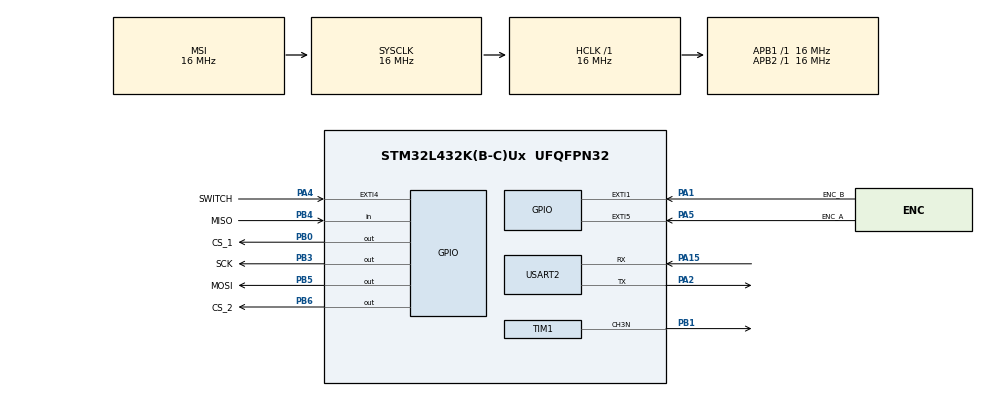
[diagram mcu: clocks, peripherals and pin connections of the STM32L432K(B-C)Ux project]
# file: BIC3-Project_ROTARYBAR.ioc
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Mcu.Family=STM32L4
Mcu.Name=STM32L432K(B-C)Ux
Mcu.Package=UFQFPN32
NVIC.EXTI1_IRQn=true\:15\:0\:true\:false\:true\:true\:true
NVIC.EXTI4_IRQn=true\:15\:0\:true\:false\:true\:true\:true
NVIC.EXTI9_5_IRQn=true\:15\:0\:true\:false\:true\:true\:true
NVIC.PriorityGroup=NVIC_PRIORITYGROUP_4
NVIC.USART2_IRQn=true\:0\:0\:false\:false\:true\:true\:true
PA1.GPIO_Label=ENC_B
PA1.GPIO_ModeDefaultEXTI=GPIO_MODE_IT_RISING_FALLING
PA1.GPIO_PuPd=GPIO_PULLDOWN
PA1.Signal=GPXTI1
PA15\ (JTDI).Mode=Asynchronous
PA15\ (JTDI).Signal=USART2_RX
PA2.Mode=Asynchronous
PA2.Signal=USART2_TX
PA4.GPIO_Label=SWITCH
PA4.GPIO_ModeDefaultEXTI=GPIO_MODE_IT_RISING
PA4.GPIO_PuPd=GPIO_PULLDOWN
PA4.Signal=GPXTI4
PA5.GPIO_Label=ENC_A
PA5.GPIO_ModeDefaultEXTI=GPIO_MODE_IT_RISING_FALLING
PA5.GPIO_PuPd=GPIO_PULLDOWN
PA5.Signal=GPXTI5
PB0.GPIO_Label=CS_1
PB0.Signal=GPIO_Output
PB1.Mode=PWM Generation3 CH3N
PB1.Signal=TIM1_CH3N
PB3\ (JTDO-TRACESWO).GPIO_Label=SCK
PB3\ (JTDO-TRACESWO).Signal=GPIO_Output
PB4\ (NJTRST).GPIO_Label=MISO
PB4\ (NJTRST).GPIO_PuPd=GPIO_PULLDOWN
PB4\ (NJTRST).Signal=GPIO_Input
PB5.GPIO_Label=MOSI
PB5.Signal=GPIO_Output
PB6.GPIO_Label=CS_2
PB6.Signal=GPIO_Output
ProjectManager.HeapSize=0x200
ProjectManager.StackSize=0x400
ProjectManager.TargetToolchain=STM32CubeIDE
RCC.ADCFreq_Value=64000000
RCC.AHBFreq_Value=16000000
RCC.APB1Freq_Value=16000000
RCC.APB1TimFreq_Value=16000000
RCC.APB2Freq_Value=16000000
RCC.APB2TimFreq_Value=16000000
RCC.CortexFreq_Value=16000000
RCC.HCLKFreq_Value=16000000
RCC.HSE_VALUE=8000000
RCC.HSI48_VALUE=48000000
RCC.HSI_VALUE=16000000
RCC.LSE_VALUE=32768
RCC.MSIClockRange=RCC_MSIRANGE_8
RCC.MSI_VALUE=16000000
RCC.SYSCLKFreq_VALUE=16000000
RCC.USBFreq_Value=64000000
RCC.VCOOutputFreq_Value=128000000
TIM1.AutoReloadPreload=TIM_AUTORELOAD_PRELOAD_ENABLE
TIM1.Channel-PWM\ Generation3\ CH3N=TIM_CHANNEL_3
TIM1.OCNPolarity_3=TIM_OCNPOLARITY_LOW
TIM1.Period=40000-1
TIM1.Prescaler=4-1
TIM1.Pulse-PWM\ Generation3\ CH3N=40000
TIM6.AutoReloadPreload=TIM_AUTORELOAD_PRELOAD_DISABLE
TIM6.Period=65536-1
TIM6.Prescaler=16-1
USART2.VirtualMode-Asynchronous=VM_ASYNC
VP_TIM6_VS_ClockSourceINT.Mode=Enable_Timer
board=custom

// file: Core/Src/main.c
/* USER CODE BEGIN Header */
/**
  ******************************************************************************
  * @file           : main.c
  * @brief          : Main program body
  ******************************************************************************
  * @attention
  *
  * <h2><center>&copy; Copyright (c) 2021 STMicroelectronics.
  * All rights reserved.</center></h2>
  *
  * This software component is licensed by ST under BSD 3-Clause license,
  * the "License"; You may not use this file except in compliance with the
  * License. You may obtain a copy of the License at:
  *                        opensource.org/licenses/BSD-3-Clause
  *
  ******************************************************************************
  */
/* USER CODE END Header */
#include "main.h"

/* USER CODE BEGIN Includes */
#include "mylibrary.h"
#include "stdio.h"
/* USER CODE END Includes */

/* USER CODE BEGIN PD */

#define RxBuffer_SIZE 1
/* USER CODE END PD */

TIM_HandleTypeDef htim1;
TIM_HandleTypeDef htim6;

UART_HandleTypeDef huart2;

/* USER CODE BEGIN PV */
MY_BARGRAPH_HandleTypeDef hbar1;

MY_ROTARY_HandleTypeDef hrot1;

SERIALPROTOCOL_TypeDef hserialprot;

uint32_t debounce_time_start = 10;
uint8_t buttonclicks=0;

uint16_t last_volume=0;
uint16_t mute_volume=8;
uint16_t bargraph_volume=0;
uint16_t rotary_volume=0;

uint8_t bargraph_brightness=20;
uint8_t seperate = 0;

uint16_t ring_rotation_led[2]={0b1100110011001100,
					0b0011001100110011

};

// Deklarieren und initialisieren des Ein-Zeichen-Empfangsbuffers
uint8_t RxBuffer[RxBuffer_SIZE]={0};

/* USER CODE END PV */

void SystemClock_Config(void);
static void MX_GPIO_Init(void);
static void MX_TIM1_Init(void);
static void MX_TIM6_Init(void);
static void MX_USART2_UART_Init(void);
/* USER CODE BEGIN PFP */
uint16_t calculate_bargraph_bitframe(uint8_t pos);
uint8_t * calculate_rotary_brightness(uint16_t pos);
/* USER CODE END PFP */

/* USER CODE BEGIN 0 */
int _write(int file, char *ptr, int len)
 {

	 for (int i = 0; i < len; i++)
	 {
		 ITM_SendChar((*ptr++));
	 }
	 return len;
 }
/* USER CODE END 0 */

int main(void)
{

  /* MCU Configuration--------------------------------------------------------*/

  /* Reset of all peripherals, Initializes the Flash interface and the Systick. */
  HAL_Init();

  /* Configure the system clock */
  SystemClock_Config();

  /* Initialize all configured peripherals */
  MX_GPIO_Init();
  MX_TIM1_Init();
  MX_TIM6_Init();
  MX_USART2_UART_Init();
  /* USER CODE BEGIN 2 */

  HAL_UART_Receive_IT(&huart2, RxBuffer, RxBuffer_SIZE);

  MY_ROTARY_Init_Strobed(&hrot1,&htim6,MOSI_GPIO_Port, MOSI_Pin,MISO_GPIO_Port,MISO_Pin, SCK_GPIO_Port, SCK_Pin, CS_2_GPIO_Port, CS_2_Pin,ENC_A_GPIO_Port,ENC_A_Pin,ENC_B_GPIO_Port,ENC_B_Pin,SWITCH_GPIO_Port,SWITCH_Pin);
  MY_BARGRAPH_Init_Pulsed(&hbar1,&htim1,TIM_CHANNEL_3,MOSI_GPIO_Port, MOSI_Pin,MISO_GPIO_Port,MISO_Pin, SCK_GPIO_Port, SCK_Pin, CS_1_GPIO_Port, CS_1_Pin);

  /* Segmente aufgrund der Lautstärke ändern */
  uint16_t calculate_bargraph_bitframe(uint8_t pos){
	uint16_t bitframe=0;
    for (uint8_t i=0;i<pos/8;i++){
    	bitframe |=(1<<(i));
    }
    return bitframe;
  }

  /* Helligkeit aufgrund der Lautstärke ändern */
  uint8_t * calculate_rotary_brightness(uint16_t pos){
	  static uint8_t rotaty_brightness[16]={0};
	  for(uint8_t i=0; i<16;i++){
		rotaty_brightness[i]=(pos/8)*10;
	  }
	return rotaty_brightness;
  }

  /* USER CODE END 2 */

  /* Infinite loop */
  /* USER CODE BEGIN WHILE */
  while (1)
  {
	  /* Variable zum koppeln und entkoppeln der Module */
	  if(!seperate){
		  bargraph_volume=rotary_volume;
	  }

	/* kalkulierte LED's des Encoders Ein- bzw. Ausschalten und die Helligkeit einstellen  */
	MY_ROTARY_SET_LEDS(&hrot1, ring_rotation_led[rotary_volume%2], calculate_rotary_brightness(rotary_volume));

	/* kalkulierte Segmente des Bargraphen Ein- bzw. Ausschalten und die Helligkeit einstellen */
	MY_BARGRAPH_SET_BITS(&hbar1, calculate_bargraph_bitframe(bargraph_volume), bargraph_brightness);

    /* USER CODE END WHILE */

  }
}

void SystemClock_Config(void)
{
  RCC_OscInitTypeDef RCC_OscInitStruct = {0};
  RCC_ClkInitTypeDef RCC_ClkInitStruct = {0};

  /** Configure the main internal regulator output voltage
  */
  if (HAL_PWREx_ControlVoltageScaling(PWR_REGULATOR_VOLTAGE_SCALE1) != HAL_OK)
  {
    Error_Handler();
  }
  /** Initializes the RCC Oscillators according to the specified parameters
  * in the RCC_OscInitTypeDef structure.
  */
  RCC_OscInitStruct.OscillatorType = RCC_OSCILLATORTYPE_MSI;
  RCC_OscInitStruct.MSIState = RCC_MSI_ON;
  RCC_OscInitStruct.MSICalibrationValue = 0;
  RCC_OscInitStruct.MSIClockRange = RCC_MSIRANGE_8;
  RCC_OscInitStruct.PLL.PLLState = RCC_PLL_NONE;
  if (HAL_RCC_OscConfig(&RCC_OscInitStruct) != HAL_OK)
  {
    Error_Handler();
  }
  /** Initializes the CPU, AHB and APB buses clocks
  */
  RCC_ClkInitStruct.ClockType = RCC_CLOCKTYPE_HCLK|RCC_CLOCKTYPE_SYSCLK
                              |RCC_CLOCKTYPE_PCLK1|RCC_CLOCKTYPE_PCLK2;
  RCC_ClkInitStruct.SYSCLKSource = RCC_SYSCLKSOURCE_MSI;
  RCC_ClkInitStruct.AHBCLKDivider = RCC_SYSCLK_DIV1;
  RCC_ClkInitStruct.APB1CLKDivider = RCC_HCLK_DIV1;
  RCC_ClkInitStruct.APB2CLKDivider = RCC_HCLK_DIV1;

  if (HAL_RCC_ClockConfig(&RCC_ClkInitStruct, FLASH_LATENCY_0) != HAL_OK)
  {
    Error_Handler();
  }
}

static void MX_TIM1_Init(void)
{

  TIM_MasterConfigTypeDef sMasterConfig = {0};
  TIM_OC_InitTypeDef sConfigOC = {0};
  TIM_BreakDeadTimeConfigTypeDef sBreakDeadTimeConfig = {0};

  htim1.Instance = TIM1;
  htim1.Init.Prescaler = 4-1;
  htim1.Init.CounterMode = TIM_COUNTERMODE_UP;
  htim1.Init.Period = 40000-1;
  htim1.Init.ClockDivision = TIM_CLOCKDIVISION_DIV1;
  htim1.Init.RepetitionCounter = 0;
  htim1.Init.AutoReloadPreload = TIM_AUTORELOAD_PRELOAD_ENABLE;
  if (HAL_TIM_PWM_Init(&htim1) != HAL_OK)
  {
    Error_Handler();
  }
  sMasterConfig.MasterOutputTrigger = TIM_TRGO_RESET;
  sMasterConfig.MasterOutputTrigger2 = TIM_TRGO2_RESET;
  sMasterConfig.MasterSlaveMode = TIM_MASTERSLAVEMODE_DISABLE;
  if (HAL_TIMEx_MasterConfigSynchronization(&htim1, &sMasterConfig) != HAL_OK)
  {
    Error_Handler();
  }
  sConfigOC.OCMode = TIM_OCMODE_PWM1;
  sConfigOC.Pulse = 40000;
  sConfigOC.OCPolarity = TIM_OCPOLARITY_HIGH;
  sConfigOC.OCNPolarity = TIM_OCNPOLARITY_LOW;
  sConfigOC.OCFastMode = TIM_OCFAST_DISABLE;
  sConfigOC.OCIdleState = TIM_OCIDLESTATE_RESET;
  sConfigOC.OCNIdleState = TIM_OCNIDLESTATE_RESET;
  if (HAL_TIM_PWM_ConfigChannel(&htim1, &sConfigOC, TIM_CHANNEL_3) != HAL_OK)
  {
    Error_Handler();
  }
  sBreakDeadTimeConfig.OffStateRunMode = TIM_OSSR_DISABLE;
  sBreakDeadTimeConfig.OffStateIDLEMode = TIM_OSSI_DISABLE;
  sBreakDeadTimeConfig.LockLevel = TIM_LOCKLEVEL_OFF;
  sBreakDeadTimeConfig.DeadTime = 0;
  sBreakDeadTimeConfig.BreakState = TIM_BREAK_DISABLE;
  sBreakDeadTimeConfig.BreakPolarity = TIM_BREAKPOLARITY_HIGH;
  sBreakDeadTimeConfig.BreakFilter = 0;
  sBreakDeadTimeConfig.Break2State = TIM_BREAK2_DISABLE;
  sBreakDeadTimeConfig.Break2Polarity = TIM_BREAK2POLARITY_HIGH;
  sBreakDeadTimeConfig.Break2Filter = 0;
  sBreakDeadTimeConfig.AutomaticOutput = TIM_AUTOMATICOUTPUT_DISABLE;
  if (HAL_TIMEx_ConfigBreakDeadTime(&htim1, &sBreakDeadTimeConfig) != HAL_OK)
  {
    Error_Handler();
  }
  HAL_TIM_MspPostInit(&htim1);

}

static void MX_TIM6_Init(void)
{

  TIM_MasterConfigTypeDef sMasterConfig = {0};

  htim6.Instance = TIM6;
  htim6.Init.Prescaler = 16-1;
  htim6.Init.CounterMode = TIM_COUNTERMODE_UP;
  htim6.Init.Period = 65536-1;
  htim6.Init.AutoReloadPreload = TIM_AUTORELOAD_PRELOAD_DISABLE;
  if (HAL_TIM_Base_Init(&htim6) != HAL_OK)
  {
    Error_Handler();
  }
  sMasterConfig.MasterOutputTrigger = TIM_TRGO_RESET;
  sMasterConfig.MasterSlaveMode = TIM_MASTERSLAVEMODE_DISABLE;
  if (HAL_TIMEx_MasterConfigSynchronization(&htim6, &sMasterConfig) != HAL_OK)
  {
    Error_Handler();
  }

}

static void MX_USART2_UART_Init(void)
{

  huart2.Instance = USART2;
  huart2.Init.BaudRate = 115200;
  huart2.Init.WordLength = UART_WORDLENGTH_8B;
  huart2.Init.StopBits = UART_STOPBITS_1;
  huart2.Init.Parity = UART_PARITY_NONE;
  huart2.Init.Mode = UART_MODE_TX_RX;
  huart2.Init.HwFlowCtl = UART_HWCONTROL_NONE;
  huart2.Init.OverSampling = UART_OVERSAMPLING_16;
  huart2.Init.OneBitSampling = UART_ONE_BIT_SAMPLE_DISABLE;
  huart2.AdvancedInit.AdvFeatureInit = UART_ADVFEATURE_NO_INIT;
  if (HAL_UART_Init(&huart2) != HAL_OK)
  {
    Error_Handler();
  }

}

static void MX_GPIO_Init(void)
{
  GPIO_InitTypeDef GPIO_InitStruct = {0};

  /* GPIO Ports Clock Enable */
  __HAL_RCC_GPIOA_CLK_ENABLE();
  __HAL_RCC_GPIOB_CLK_ENABLE();

  /*Configure GPIO pin Output Level */
  HAL_GPIO_WritePin(GPIOB, CS_1_Pin|SCK_Pin|MOSI_Pin|CS_2_Pin, GPIO_PIN_RESET);

  /*Configure GPIO pins : ENC_B_Pin ENC_A_Pin */
  GPIO_InitStruct.Pin = ENC_B_Pin|ENC_A_Pin;
  GPIO_InitStruct.Mode = GPIO_MODE_IT_RISING_FALLING;
  GPIO_InitStruct.Pull = GPIO_PULLDOWN;
  HAL_GPIO_Init(GPIOA, &GPIO_InitStruct);

  /*Configure GPIO pin : SWITCH_Pin */
  GPIO_InitStruct.Pin = SWITCH_Pin;
  GPIO_InitStruct.Mode = GPIO_MODE_IT_RISING;
  GPIO_InitStruct.Pull = GPIO_PULLDOWN;
  HAL_GPIO_Init(SWITCH_GPIO_Port, &GPIO_InitStruct);

  /*Configure GPIO pins : CS_1_Pin SCK_Pin MOSI_Pin CS_2_Pin */
  GPIO_InitStruct.Pin = CS_1_Pin|SCK_Pin|MOSI_Pin|CS_2_Pin;
  GPIO_InitStruct.Mode = GPIO_MODE_OUTPUT_PP;
  GPIO_InitStruct.Pull = GPIO_NOPULL;
  GPIO_InitStruct.Speed = GPIO_SPEED_FREQ_LOW;
  HAL_GPIO_Init(GPIOB, &GPIO_InitStruct);

  /*Configure GPIO pin : MISO_Pin */
  GPIO_InitStruct.Pin = MISO_Pin;
  GPIO_InitStruct.Mode = GPIO_MODE_INPUT;
  GPIO_InitStruct.Pull = GPIO_PULLDOWN;
  HAL_GPIO_Init(MISO_GPIO_Port, &GPIO_InitStruct);

  /* EXTI interrupt init*/
  HAL_NVIC_SetPriority(EXTI1_IRQn, 15, 0);
  HAL_NVIC_EnableIRQ(EXTI1_IRQn);

  HAL_NVIC_SetPriority(EXTI4_IRQn, 15, 0);
  HAL_NVIC_EnableIRQ(EXTI4_IRQn);

  HAL_NVIC_SetPriority(EXTI9_5_IRQn, 15, 0);
  HAL_NVIC_EnableIRQ(EXTI9_5_IRQn);

}

/* USER CODE BEGIN 4 */

void HAL_GPIO_EXTI_Callback(uint16_t GPIO_Pin)
{

	// Alle Interrupts deaktivieren -> keine Nested-Interrupts
	__disable_irq();

	// Encoder entprellen
	if((HAL_GetTick() - debounce_time_start) > 60)
	{

		// Ermitteln in welche Richtung der Encoder gedreht wurde bzw. ob der Taster gedrückt wurde
		// 1=rechtsdreh; 2= linksdreh; 3=taster gedrückt
		uint8_t event = MY_ROTARY_GetEncoderEvent();

		// Wenn Encoder nach rechts gedreht wurde
		if(event==1){
			debounce_time_start =HAL_GetTick();
			last_volume=rotary_volume;

			// Buttonclicks zurücksetzen
			if(buttonclicks==1){
				buttonclicks=0;
			}

			// Lautstärke erhöhen -> Begrenzung bei 87
			if( rotary_volume <87){
					rotary_volume++;
			}

		// Wenn Encoder nach links gedreht wurde
		}else if(event==2){

			// Zeit des letzten Ereignisses speichern
			debounce_time_start =HAL_GetTick();

			last_volume=rotary_volume;

			// Buttonclicks zurücksetzen
			if(buttonclicks==1){
				buttonclicks=0;
			}

			// Lautstärke verringern -> Begrenzung bei 0
			if( rotary_volume >0){
					rotary_volume--;
			}

		// Wenn Encoder-Taster gedrückt wurde
		}else if(event==3){
			buttonclicks++;

			/* Wenn Rotarybutton 1x geklickt -> MUTE aktivieren -> funktioniert nur wenn die aktuelle Läutstärke höher ist als die Mute-Lautstärke */
			if(buttonclicks==1){
				if(rotary_volume>mute_volume){
					last_volume=rotary_volume;
					rotary_volume=mute_volume;
				}
			}

			/* Wenn Rotarybutton 1x geklickt -> MUTE beenden */
			if(buttonclicks==2){
				rotary_volume=last_volume;
				buttonclicks=0;
			}
		}

	}

	// Alle Interrupts aktivieren
	__enable_irq();
}

/* UART-Callback wird nach jedem Zeichen aufgerufen */
void HAL_UART_RxCpltCallback(UART_HandleTypeDef *huart)
{
	/* Nachrichtenbuffer für die Konsolen-Nachricht */
	uint8_t exchangedMessage[55] ={0};

	/*
	 * MYLIB_SERIALPROT_XCHANGE -> Verarbeitet die eingegebenen Zeichen des UART und gibt das demenstspechende Ergebnis/Nachricht zurück
	 * hserialprot -> Objekt des Seriellen Protokolls
	 * RxBuffer -> Ein-Zeichen-Empfangspuffer
	 * exchangedMessage -> zurückgegebene Nachricht aufgrund der Eingaben von Rx bzw. auf der Konsole
	 * Die Verarbeitung erfolgt in der MyLibrary/mylib_serialprot-Bibliothek
	 */
	MYLIB_SERIALPROT_XCHANGE(&hserialprot,RxBuffer,exchangedMessage);

	/* exchangedMessage an Putty/Konsole senden */
	if(HAL_UART_Transmit(&huart2, exchangedMessage,(uint16_t)strlen(exchangedMessage), 100)!= HAL_OK){Error_Handler();}

	/* UART_Receive Interrupt aktivieren */
	if(HAL_UART_Receive_IT(&huart2, RxBuffer, RxBuffer_SIZE)!= HAL_OK){Error_Handler();}
}

/* Callback für CRG-Commands (Rotary-Get), welche der User selbst definieren kann */
uint16_t SERIALPROT_Command_CRG_Callback(SERIALPROTOCOL_TypeDef *hserialprot)
{
	/* Prüfen ob das Kommando "crg" mit dem Parameter 1 "vol" eingegeben wurde und danach die Lautstärke zurückgeben */
	if(__SERIALPROT_IS_PARAMETER1(hserialprot,"vol")){
		return rotary_volume;
	/* Prüfen ob das Kommando "crg" mit dem Parameter 1 "mva" eingegeben wurde und danach die Mute-Lautstärke zurückgeben */
	}else if(__SERIALPROT_IS_PARAMETER1(hserialprot,"mva")){
		return mute_volume;
	/* Prüfen ob das Kommando "crg" mit dem Parameter 1 "sep" eingegeben wurde und danach den Status zurückgeben ob die Module getrennt sind */
	}else if(__SERIALPROT_IS_PARAMETER1(hserialprot,"sep")){
		return seperate;
	}
	return 0;
}

/* Callback für CRS-Commands (Rotary-Set), welche der User selbst definieren kann */
uint8_t SERIALPROT_Command_CRS_Callback(SERIALPROTOCOL_TypeDef *hserialprot)
{

	/* Prüfen ob das Kommando "crs" mit dem Parameter 1 "vol" eingegeben wurde und danach die Lautstärke nach Parameter 2 ändern */
	if(__SERIALPROT_IS_PARAMETER1(hserialprot,"vol")){
		rotary_volume=atoi(hserialprot->Parameter2);
		last_volume=rotary_volume;
		return 0;

	/* Prüfen ob das Kommando "crs" mit dem Parameter 1 "mva" eingegeben wurde und danach die Mute-Lautstärke nach Parameter 2 ändern */
	}else if(__SERIALPROT_IS_PARAMETER1(hserialprot,"mva")){
		mute_volume=atoi(hserialprot->Parameter2);
		return 0;

		/* Prüfen ob das Kommando "crs" mit dem Parameter 1 "sep" eingegeben wurde und je nach Parameter 2 (0=nicht koppeln/1=koppeln) die Module koppeln oder nicht koppeln */
	}else if(__SERIALPROT_IS_PARAMETER1(hserialprot,"sep")){
		if(__SERIALPROT_IS_PARAMETER2(hserialprot,"1")){
			seperate=1;
		}else if(__SERIALPROT_IS_PARAMETER2(hserialprot,"0")){
			seperate=0;
		}
		return 0;

	/* Prüfen ob das Kommando "crs" mit dem Parameter 1 "vmx" eingegeben wurde und danachdie Maximal-Lautstärke einstellenn */
	}else if(__SERIALPROT_IS_PARAMETER1(hserialprot,"vmx")){
		rotary_volume=87;
		last_volume=rotary_volume;
		return 0;

	/* Prüfen ob das Kommando "crs" mit dem Parameter 1 "mte" eingegeben wurde und je nach Parameter 2 (0=Aus/1=Ein) auf Mute-Lautstärke einstellen */
	}else if(__SERIALPROT_IS_PARAMETER1(hserialprot,"mte")){
		if(__SERIALPROT_IS_PARAMETER2(hserialprot,"1")){
			if(rotary_volume>mute_volume){
				last_volume=rotary_volume;
				rotary_volume=mute_volume;
			}
		}else if(__SERIALPROT_IS_PARAMETER2(hserialprot,"0")){
			rotary_volume=last_volume;
		}
		return 0;
	}
	return 1;
}

/* Callback für CBG-Commands (Bargraph-Get), welche der User selbst definieren kann */
uint16_t SERIALPROT_Command_CBG_Callback(SERIALPROTOCOL_TypeDef *hserialprot)
{
	/* Prüfen ob das Kommando "cbg" mit dem Parameter 1 "vol" eingegeben wurde und danach die Lautstärke zurückgeben */
	if(__SERIALPROT_IS_PARAMETER1(hserialprot,"vol")){
		return bargraph_volume;

	/* Prüfen ob das Kommando "cbg" mit dem Parameter 1 "bgn" eingegeben wurde und danach die Helligkeit zurückgeben */
	}else if(__SERIALPROT_IS_PARAMETER1(hserialprot,"bgn")){
		return bargraph_brightness;
	}else if(__SERIALPROT_IS_PARAMETER1(hserialprot,"mva")){
		return mute_volume;
	/* Prüfen ob das Kommando "crg" mit dem Parameter 1 "sep" eingegeben wurde und danach den Status zurückgeben ob die Module getrennt sind */
	}else if(__SERIALPROT_IS_PARAMETER1(hserialprot,"sep")){
		return seperate;
	}
	return 0;

}

/* Callback für CBS-Commands (Bargraph-Set), welche der User selbst definieren kann */
uint8_t SERIALPROT_Command_CBS_Callback(SERIALPROTOCOL_TypeDef *hserialprot)
{

	/* Prüfen ob das Kommando "cbs" mit dem Parameter 1 "vol" eingegeben wurde und danach die Lautstärke nach Parameter 2 ändern */
	if(__SERIALPROT_IS_PARAMETER1(hserialprot,"vol")){
		bargraph_volume=atoi(hserialprot->Parameter2);
		last_volume=bargraph_volume;
		return 0;
	/* Prüfen ob das Kommando "cbs" mit dem Parameter 1 "vol" eingegeben wurde und danach die Helligkeit nach Parameter 2 ändern */
	}else if(__SERIALPROT_IS_PARAMETER1(hserialprot,"bgn")){
		bargraph_brightness=atoi(hserialprot->Parameter2);
		return 0;
	/* Prüfen ob das Kommando "cbs" mit dem Parameter 1 "mva" eingegeben wurde und danach die Mute-Lautstärke nach Parameter 2 ändern */
	}else if(__SERIALPROT_IS_PARAMETER1(hserialprot,"mva")){
		mute_volume=atoi(hserialprot->Parameter2);
		return 0;
	/* Prüfen ob das Kommando "cbs" mit dem Parameter 1 "sep" eingegeben wurde und je nach Parameter 2 (0=nicht koppeln/1=koppeln) die Module koppeln oder nicht koppeln */
	}else if(__SERIALPROT_IS_PARAMETER1(hserialprot,"sep")){
		if(__SERIALPROT_IS_PARAMETER2(hserialprot,"1")){
			seperate=1;
		}else if(__SERIALPROT_IS_PARAMETER2(hserialprot,"0")){
			seperate=0;
		}
		return 0;
	/* Prüfen ob das Kommando "cbs" mit dem Parameter 1 "vmx" eingegeben wurde und danacf die Maximal-Lautstärke einstellenn */
	}else if(__SERIALPROT_IS_PARAMETER1(hserialprot,"vmx")){
		bargraph_volume=87;
		last_volume=bargraph_volume;
		return 0;
	/* Prüfen ob das Kommando "cbs" mit dem Parameter 1 "mte" eingegeben wurde und je nach Parameter 2 (0=Aus/1=Ein) auf Mute-Lautstärke einstellen */
	}else if(__SERIALPROT_IS_PARAMETER1(hserialprot,"mte")){
		if(__SERIALPROT_IS_PARAMETER2(hserialprot,"1")){
			last_volume=bargraph_volume;
			bargraph_volume=mute_volume;
		}else if(__SERIALPROT_IS_PARAMETER2(hserialprot,"0")){
			bargraph_volume=last_volume;
		}
		return 0;
	}
	return 1;
}
/* USER CODE END 4 */

void Error_Handler(void)
{
  __disable_irq();
  while (1)
  {
  }
}

/************************ (C) COPYRIGHT STMicroelectronics *****END OF FILE****/
